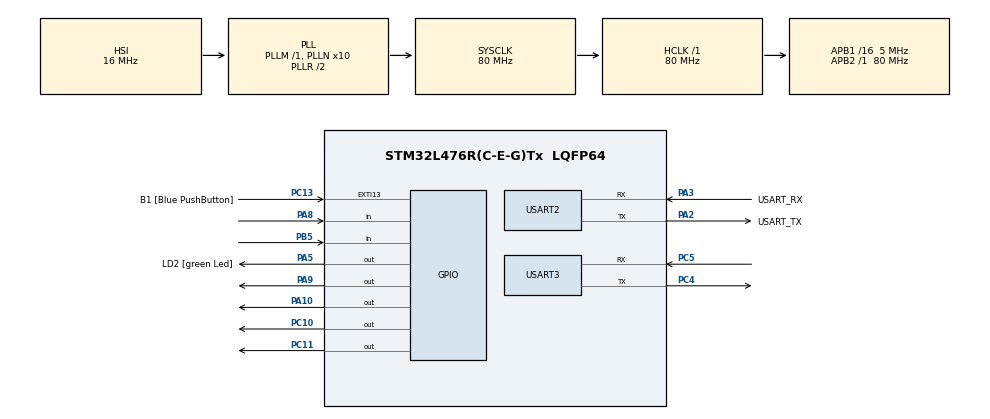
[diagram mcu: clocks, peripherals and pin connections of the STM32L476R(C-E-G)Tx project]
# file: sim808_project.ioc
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Mcu.Family=STM32L4
Mcu.Name=STM32L476R(C-E-G)Tx
Mcu.Package=LQFP64
NVIC.PriorityGroup=NVIC_PRIORITYGROUP_4
NVIC.TIM2_IRQn=true\:0\:0\:false\:false\:true\:true\:true\:true
NVIC.TIM3_IRQn=true\:0\:0\:false\:false\:true\:true\:true\:true
NVIC.USART3_IRQn=true\:0\:0\:false\:false\:true\:true\:true\:true
PA10.Signal=GPIO_Output
PA13\ (JTMS-SWDIO).GPIO_Label=TMS
PA13\ (JTMS-SWDIO).Mode=Serial_Wire
PA13\ (JTMS-SWDIO).Signal=SYS_JTMS-SWDIO
PA14\ (JTCK-SWCLK).GPIO_Label=TCK
PA14\ (JTCK-SWCLK).Mode=Serial_Wire
PA14\ (JTCK-SWCLK).Signal=SYS_JTCK-SWCLK
PA2.GPIO_Label=USART_TX
PA2.GPIO_Mode=GPIO_MODE_AF_PP
PA2.GPIO_PuPd=GPIO_NOPULL
PA2.GPIO_Speed=GPIO_SPEED_FREQ_VERY_HIGH
PA2.Mode=Asynchronous
PA2.Signal=USART2_TX
PA3.GPIO_Label=USART_RX
PA3.GPIO_Mode=GPIO_MODE_AF_PP
PA3.GPIO_PuPd=GPIO_NOPULL
PA3.GPIO_Speed=GPIO_SPEED_FREQ_VERY_HIGH
PA3.Mode=Asynchronous
PA3.Signal=USART2_RX
PA5.GPIO_Label=LD2 [green Led]
PA5.GPIO_ModeDefaultOutputPP=GPIO_MODE_OUTPUT_PP
PA5.GPIO_PuPd=GPIO_NOPULL
PA5.GPIO_Speed=GPIO_SPEED_FREQ_LOW
PA5.Signal=GPIO_Output
PA8.Signal=GPIO_Input
PA9.Signal=GPIO_Output
PB3\ (JTDO-TRACESWO).GPIO_Label=SWO
PB3\ (JTDO-TRACESWO).Signal=SYS_JTDO-SWO
PB5.Signal=GPIO_Input
PC10.Signal=GPIO_Output
PC11.Signal=GPIO_Output
PC13.GPIO_Label=B1 [Blue PushButton]
PC13.GPIO_ModeDefaultEXTI=GPIO_MODE_IT_FALLING
PC13.GPIO_PuPd=GPIO_NOPULL
PC13.Signal=GPXTI13
PC14-OSC32_IN\ (PC14).Mode=LSE-External-Oscillator
PC14-OSC32_IN\ (PC14).Signal=RCC_OSC32_IN
PC15-OSC32_OUT\ (PC15).Mode=LSE-External-Oscillator
PC15-OSC32_OUT\ (PC15).Signal=RCC_OSC32_OUT
PC4.Mode=Asynchronous
PC4.Signal=USART3_TX
PC5.Mode=Asynchronous
PC5.Signal=USART3_RX
PH0-OSC_IN\ (PH0).Mode=HSE-External-Oscillator
PH0-OSC_IN\ (PH0).Signal=RCC_OSC_IN
PH1-OSC_OUT\ (PH1).Mode=HSE-External-Oscillator
PH1-OSC_OUT\ (PH1).Signal=RCC_OSC_OUT
ProjectManager.HeapSize=0x200
ProjectManager.StackSize=0x400
ProjectManager.TargetToolchain=STM32CubeIDE
RCC.ADCFreq_Value=64000000
RCC.AHBFreq_Value=80000000
RCC.APB1CLKDivider=RCC_HCLK_DIV16
RCC.APB1Freq_Value=5000000
RCC.APB1TimFreq_Value=10000000
RCC.APB2Freq_Value=80000000
RCC.APB2TimFreq_Value=80000000
RCC.CortexFreq_Value=80000000
RCC.HCLKFreq_Value=80000000
RCC.HSE_VALUE=8000000
RCC.HSI_VALUE=16000000
RCC.MSI_VALUE=4000000
RCC.PLLN=10
RCC.PLLSourceVirtual=RCC_PLLSOURCE_HSI
RCC.PREFETCH_ENABLE=1
RCC.SYSCLKFreq_VALUE=80000000
RCC.SYSCLKSource=RCC_SYSCLKSOURCE_PLLCLK
RCC.USBFreq_Value=64000000
RCC.VCOOutputFreq_Value=160000000
TIM2.Period=9999
TIM2.Prescaler=8399
TIM3.Period=65358
TIM3.Prescaler=1529
USART2.VirtualMode-Asynchronous=VM_ASYNC
USART3.VirtualMode-Asynchronous=VM_ASYNC
VP_TIM2_VS_ClockSourceINT.Mode=Internal
VP_TIM3_VS_ClockSourceINT.Mode=Internal
board=NUCLEO-L476RG

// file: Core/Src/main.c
/* USER CODE BEGIN Header */
/**
  ******************************************************************************
  * @file           : main.c
  * @brief          : Main program body
  ******************************************************************************
  * @attention
  *
  * Copyright (c) 2025 STMicroelectronics.
  * All rights reserved.
  *
  * This software is licensed under terms that can be found in the LICENSE file
  * in the root directory of this software component.
  * If no LICENSE file comes with this software, it is provided AS-IS.
  *
  ******************************************************************************
  */
/* USER CODE END Header */
#include "main.h"

/* USER CODE BEGIN Includes */
#include "timer.h"
#include "tarcker_fsm.h"

#include <stdint.h>
#include <stdbool.h>
/* USER CODE END Includes */

TIM_HandleTypeDef htim2;
TIM_HandleTypeDef htim3;

UART_HandleTypeDef huart2;
UART_HandleTypeDef huart3;

void SystemClock_Config(void);
static void MX_GPIO_Init(void);
static void MX_USART2_UART_Init(void);
static void MX_USART3_UART_Init(void);
static void MX_TIM2_Init(void);
static void MX_TIM3_Init(void);

int main(void)
{

  /* MCU Configuration--------------------------------------------------------*/

  /* Reset of all peripherals, Initializes the Flash interface and the Systick. */
  HAL_Init();

  /* Configure the system clock */
  SystemClock_Config();

  /* Initialize all configured peripherals */
  MX_GPIO_Init();
  MX_USART2_UART_Init();
  MX_USART3_UART_Init();
  MX_TIM2_Init();
  MX_TIM3_Init();
  /* USER CODE BEGIN 2 */
  WatchdogTimer_Start();
  State_Idle_Enter();
  initReceive();
  /* USER CODE END 2 */

  /* Infinite loop */
  /* USER CODE BEGIN WHILE */
while (1) {

		Event_t ev = Event_Wait();
		//HAL_Delay(1000);

		if (ev == EVENT_NONE) {
			continue;
		}

		switch (current_state) {

		case STATE_IDLE:
			State_Idle_HandleEvent(ev);
			break;

		case STATE_TRACKING:
			State_Tracking_HandleEvent(ev);
			break;

		case STATE_PARK:
			State_Park_HandleEvent(ev);
			break;

		case STATE_RECONNECT:
			State_Reconnect_HandleEvent(ev);
			break;
		}

    /* USER CODE END WHILE */

  }
}

void SystemClock_Config(void)
{
  RCC_OscInitTypeDef RCC_OscInitStruct = {0};
  RCC_ClkInitTypeDef RCC_ClkInitStruct = {0};

  /** Configure the main internal regulator output voltage
  */
  if (HAL_PWREx_ControlVoltageScaling(PWR_REGULATOR_VOLTAGE_SCALE1) != HAL_OK)
  {
    Error_Handler();
  }

  /** Initializes the RCC Oscillators according to the specified parameters
  * in the RCC_OscInitTypeDef structure.
  */
  RCC_OscInitStruct.OscillatorType = RCC_OSCILLATORTYPE_HSI;
  RCC_OscInitStruct.HSIState = RCC_HSI_ON;
  RCC_OscInitStruct.HSICalibrationValue = RCC_HSICALIBRATION_DEFAULT;
  RCC_OscInitStruct.PLL.PLLState = RCC_PLL_ON;
  RCC_OscInitStruct.PLL.PLLSource = RCC_PLLSOURCE_HSI;
  RCC_OscInitStruct.PLL.PLLM = 1;
  RCC_OscInitStruct.PLL.PLLN = 10;
  RCC_OscInitStruct.PLL.PLLP = RCC_PLLP_DIV7;
  RCC_OscInitStruct.PLL.PLLQ = RCC_PLLQ_DIV2;
  RCC_OscInitStruct.PLL.PLLR = RCC_PLLR_DIV2;
  if (HAL_RCC_OscConfig(&RCC_OscInitStruct) != HAL_OK)
  {
    Error_Handler();
  }

  /** Initializes the CPU, AHB and APB buses clocks
  */
  RCC_ClkInitStruct.ClockType = RCC_CLOCKTYPE_HCLK|RCC_CLOCKTYPE_SYSCLK
                              |RCC_CLOCKTYPE_PCLK1|RCC_CLOCKTYPE_PCLK2;
  RCC_ClkInitStruct.SYSCLKSource = RCC_SYSCLKSOURCE_PLLCLK;
  RCC_ClkInitStruct.AHBCLKDivider = RCC_SYSCLK_DIV1;
  RCC_ClkInitStruct.APB1CLKDivider = RCC_HCLK_DIV16;
  RCC_ClkInitStruct.APB2CLKDivider = RCC_HCLK_DIV1;

  if (HAL_RCC_ClockConfig(&RCC_ClkInitStruct, FLASH_LATENCY_4) != HAL_OK)
  {
    Error_Handler();
  }
}

static void MX_TIM2_Init(void)
{

  TIM_ClockConfigTypeDef sClockSourceConfig = {0};
  TIM_MasterConfigTypeDef sMasterConfig = {0};

  htim2.Instance = TIM2;
  htim2.Init.Prescaler = 8399;
  htim2.Init.CounterMode = TIM_COUNTERMODE_UP;
  htim2.Init.Period = 9999;
  htim2.Init.ClockDivision = TIM_CLOCKDIVISION_DIV1;
  htim2.Init.AutoReloadPreload = TIM_AUTORELOAD_PRELOAD_DISABLE;
  if (HAL_TIM_Base_Init(&htim2) != HAL_OK)
  {
    Error_Handler();
  }
  sClockSourceConfig.ClockSource = TIM_CLOCKSOURCE_INTERNAL;
  if (HAL_TIM_ConfigClockSource(&htim2, &sClockSourceConfig) != HAL_OK)
  {
    Error_Handler();
  }
  sMasterConfig.MasterOutputTrigger = TIM_TRGO_RESET;
  sMasterConfig.MasterSlaveMode = TIM_MASTERSLAVEMODE_DISABLE;
  if (HAL_TIMEx_MasterConfigSynchronization(&htim2, &sMasterConfig) != HAL_OK)
  {
    Error_Handler();
  }

}

static void MX_TIM3_Init(void)
{

  TIM_ClockConfigTypeDef sClockSourceConfig = {0};
  TIM_MasterConfigTypeDef sMasterConfig = {0};

  htim3.Instance = TIM3;
  htim3.Init.Prescaler = 1529;
  htim3.Init.CounterMode = TIM_COUNTERMODE_UP;
  htim3.Init.Period = 65358;
  htim3.Init.ClockDivision = TIM_CLOCKDIVISION_DIV1;
  htim3.Init.AutoReloadPreload = TIM_AUTORELOAD_PRELOAD_DISABLE;
  if (HAL_TIM_Base_Init(&htim3) != HAL_OK)
  {
    Error_Handler();
  }
  sClockSourceConfig.ClockSource = TIM_CLOCKSOURCE_INTERNAL;
  if (HAL_TIM_ConfigClockSource(&htim3, &sClockSourceConfig) != HAL_OK)
  {
    Error_Handler();
  }
  sMasterConfig.MasterOutputTrigger = TIM_TRGO_RESET;
  sMasterConfig.MasterSlaveMode = TIM_MASTERSLAVEMODE_DISABLE;
  if (HAL_TIMEx_MasterConfigSynchronization(&htim3, &sMasterConfig) != HAL_OK)
  {
    Error_Handler();
  }

}

static void MX_USART2_UART_Init(void)
{

  huart2.Instance = USART2;
  huart2.Init.BaudRate = 115200;
  huart2.Init.WordLength = UART_WORDLENGTH_8B;
  huart2.Init.StopBits = UART_STOPBITS_1;
  huart2.Init.Parity = UART_PARITY_NONE;
  huart2.Init.Mode = UART_MODE_TX_RX;
  huart2.Init.HwFlowCtl = UART_HWCONTROL_NONE;
  huart2.Init.OverSampling = UART_OVERSAMPLING_16;
  huart2.Init.OneBitSampling = UART_ONE_BIT_SAMPLE_DISABLE;
  huart2.AdvancedInit.AdvFeatureInit = UART_ADVFEATURE_NO_INIT;
  if (HAL_UART_Init(&huart2) != HAL_OK)
  {
    Error_Handler();
  }

}

static void MX_USART3_UART_Init(void)
{

  huart3.Instance = USART3;
  huart3.Init.BaudRate = 115200;
  huart3.Init.WordLength = UART_WORDLENGTH_8B;
  huart3.Init.StopBits = UART_STOPBITS_1;
  huart3.Init.Parity = UART_PARITY_NONE;
  huart3.Init.Mode = UART_MODE_TX_RX;
  huart3.Init.HwFlowCtl = UART_HWCONTROL_NONE;
  huart3.Init.OverSampling = UART_OVERSAMPLING_16;
  huart3.Init.OneBitSampling = UART_ONE_BIT_SAMPLE_DISABLE;
  huart3.AdvancedInit.AdvFeatureInit = UART_ADVFEATURE_NO_INIT;
  if (HAL_UART_Init(&huart3) != HAL_OK)
  {
    Error_Handler();
  }

}

static void MX_GPIO_Init(void)
{
  GPIO_InitTypeDef GPIO_InitStruct = {0};

  /* GPIO Ports Clock Enable */
  __HAL_RCC_GPIOC_CLK_ENABLE();
  __HAL_RCC_GPIOH_CLK_ENABLE();
  __HAL_RCC_GPIOA_CLK_ENABLE();
  __HAL_RCC_GPIOB_CLK_ENABLE();

  /*Configure GPIO pin Output Level */
  HAL_GPIO_WritePin(GPIOA, LD2_Pin|GPIO_PIN_9|GPIO_PIN_10, GPIO_PIN_RESET);

  /*Configure GPIO pin Output Level */
  HAL_GPIO_WritePin(GPIOC, GPIO_PIN_10|GPIO_PIN_11, GPIO_PIN_RESET);

  /*Configure GPIO pin : B1_Pin */
  GPIO_InitStruct.Pin = B1_Pin;
  GPIO_InitStruct.Mode = GPIO_MODE_IT_FALLING;
  GPIO_InitStruct.Pull = GPIO_NOPULL;
  HAL_GPIO_Init(B1_GPIO_Port, &GPIO_InitStruct);

  /*Configure GPIO pins : LD2_Pin PA9 PA10 */
  GPIO_InitStruct.Pin = LD2_Pin|GPIO_PIN_9|GPIO_PIN_10;
  GPIO_InitStruct.Mode = GPIO_MODE_OUTPUT_PP;
  GPIO_InitStruct.Pull = GPIO_NOPULL;
  GPIO_InitStruct.Speed = GPIO_SPEED_FREQ_LOW;
  HAL_GPIO_Init(GPIOA, &GPIO_InitStruct);

  /*Configure GPIO pin : PA8 */
  GPIO_InitStruct.Pin = GPIO_PIN_8;
  GPIO_InitStruct.Mode = GPIO_MODE_INPUT;
  GPIO_InitStruct.Pull = GPIO_NOPULL;
  HAL_GPIO_Init(GPIOA, &GPIO_InitStruct);

  /*Configure GPIO pins : PC10 PC11 */
  GPIO_InitStruct.Pin = GPIO_PIN_10|GPIO_PIN_11;
  GPIO_InitStruct.Mode = GPIO_MODE_OUTPUT_PP;
  GPIO_InitStruct.Pull = GPIO_NOPULL;
  GPIO_InitStruct.Speed = GPIO_SPEED_FREQ_LOW;
  HAL_GPIO_Init(GPIOC, &GPIO_InitStruct);

  /*Configure GPIO pin : PB5 */
  GPIO_InitStruct.Pin = GPIO_PIN_5;
  GPIO_InitStruct.Mode = GPIO_MODE_INPUT;
  GPIO_InitStruct.Pull = GPIO_NOPULL;
  HAL_GPIO_Init(GPIOB, &GPIO_InitStruct);

}

void Error_Handler(void)
{
  __disable_irq();
  while (1)
  {
  }
}
